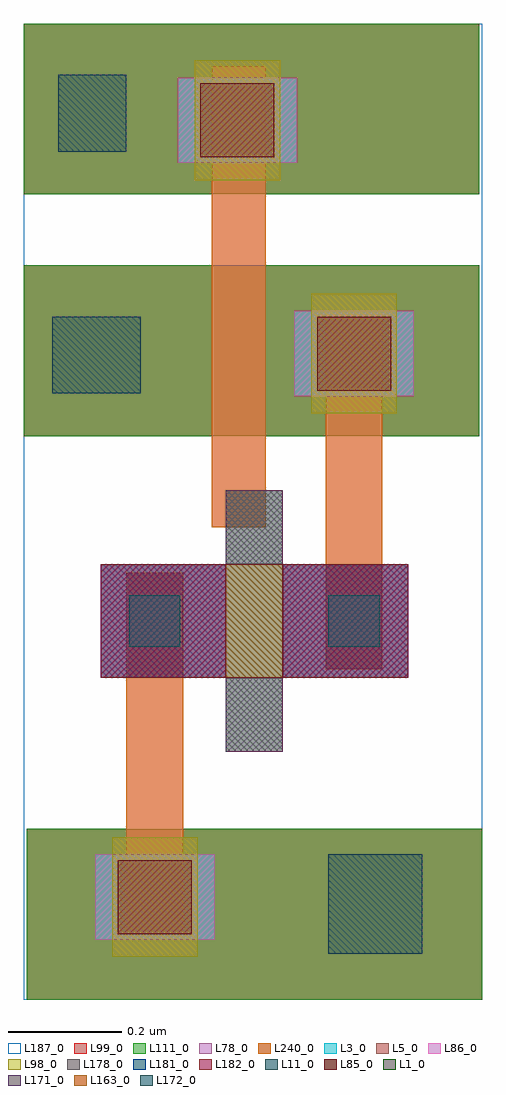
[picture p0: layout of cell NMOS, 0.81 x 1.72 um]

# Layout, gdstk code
import gdstk
lib = gdstk.Library(unit=1e-6, precision=1e-09)
def R(c, l, rs):  # rectangles x0, y0, x1, y1
    for r in rs: c.add(gdstk.rectangle(r[:2], r[2:], *l))
L1_0 = (1, 0)
L3_0 = (3, 0)
L5_0 = (5, 0)
L11_0 = (11, 0)
L78_0 = (78, 0)
L85_0 = (85, 0)
L86_0 = (86, 0)
L98_0 = (98, 0)
L99_0 = (99, 0)
L111_0 = (111, 0)
L163_0 = (163, 0)
L171_0 = (171, 0)
L172_0 = (172, 0)
L178_0 = (178, 0)
L181_0 = (181, 0)
L182_0 = (182, 0)
L187_0 = (187, 0)
L240_0 = (240, 0)

nmos = lib.new_cell('NMOS')
R(nmos, L1_0, [(0.8,0.67,0.9,1.13)])
R(nmos, L3_0, [(0.57,0.34,0.78,0.49), (0.92,1.295,1.13,1.445), (0.715,1.705,0.925,1.855)])
R(nmos, L5_0, [(0.6,0.31,0.75,0.52), (0.95,1.265,1.1,1.475), (0.745,1.675,0.895,1.885)])
R(nmos, L11_0, [(0.98,0.315,1.145,0.49), (0.495,1.3,0.65,1.435), (0.505,1.725,0.625,1.86)])
R(nmos, L78_0, [(0.625,0.355,0.725,0.985), (0.975,0.815,1.075,1.445), (0.775,1.065,0.87,1.875)])
R(nmos, L85_0, [(0.61,0.35,0.74,0.48), (0.96,1.305,1.09,1.435), (0.755,1.715,0.885,1.845)])
R(nmos, L86_0, [(0.57,0.34,0.78,0.49), (0.92,1.295,1.13,1.445), (0.715,1.705,0.925,1.855)])
R(nmos, L98_0, [(0.6,0.31,0.75,0.52), (0.95,1.265,1.1,1.475), (0.745,1.675,0.895,1.885)])
R(nmos, L99_0, [(0.45,0.235,1.25,0.535), (0.445,1.225,1.245,1.525), (0.445,1.65,1.245,1.95)])
R(nmos, L111_0, [(0.45,0.235,1.25,0.535), (0.445,1.225,1.245,1.525), (0.445,1.65,1.245,1.95)])
R(nmos, L163_0, [(0.8,0.8,0.9,1)])
R(nmos, L171_0, [(0.8,0.67,0.9,0.8), (0.8,1,0.9,1.13)])
R(nmos, L172_0, [(0.63,0.855,0.72,0.945), (0.98,0.855,1.07,0.945)])
R(nmos, L178_0, [(0.58,0.8,0.8,1), (0.9,0.8,1.12,1)])
R(nmos, L181_0, [(0.58,0.8,0.8,1), (0.9,0.8,1.12,1)])
R(nmos, L182_0, [(0.58,0.8,0.8,1), (0.9,0.8,1.12,1)])
R(nmos, L187_0, [(0.445,0.235,1.25,1.95)])
R(nmos, L240_0, [(0.625,0.355,0.725,0.985), (0.975,0.815,1.075,1.445), (0.775,1.065,0.87,1.875)])

lib.write_gds('NMOS.gds')
